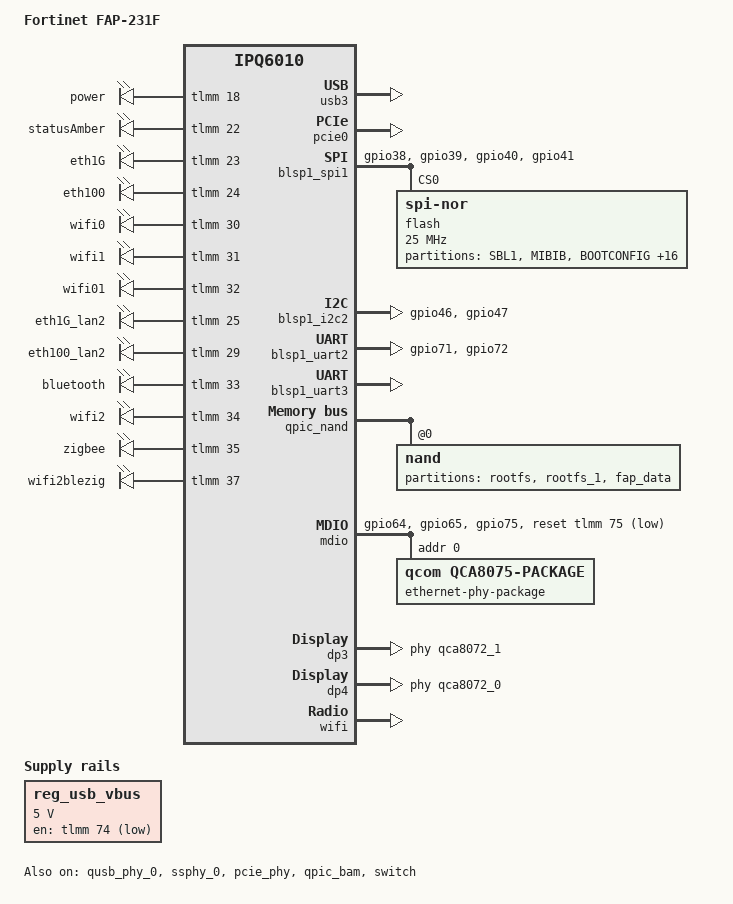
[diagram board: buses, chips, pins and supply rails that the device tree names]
// SPDX-License-Identifier: GPL-2.0-or-later OR MIT

/dts-v1/;

#include "ipq6018-512m.dtsi"
#include "ipq6018-thermal.dtsi"
#include "ipq6018-cp-cpu.dtsi"
#include "ipq6018-ess.dtsi"
#include "ipq6018-nss.dtsi"
#include <dt-bindings/gpio/gpio.h>
#include <dt-bindings/input/input.h>
#include <dt-bindings/leds/common.h>

/ {
	model = "Fortinet FAP-231F";
	compatible = "fortinet,fap-231f", "qcom,ipq6018", "qcom,ipq6010";

	aliases {
		serial0 = &blsp1_uart3;
		serial1 = &blsp1_uart2;
	};

	chosen {
		stdout-path = "serial0:115200n8";
		bootargs-append = " coherent_pool=2M console=ttyMSM0,115200n8 swiotlb=1 mitigations=off root=/dev/ubiblock0_1";
	};

	keys {
		compatible = "gpio-keys";

	};

	leds {
		compatible = "gpio-leds";
		pinctrl-0 = <&led_pins>;
		pinctrl-names = "default";

			power {
				label = "power";
				gpios = <&tlmm 18 GPIO_ACTIVE_HIGH>;
			};

			statusAmber {
				label = "statusAmber";
				gpios = <&tlmm 22 GPIO_ACTIVE_HIGH>;
			};

			eth1G {
				label = "eth1G";
				gpios = <&tlmm 23 GPIO_ACTIVE_HIGH>;
			};

			eth100 {
				label = "eth100";
				gpios = <&tlmm 24 GPIO_ACTIVE_HIGH>;
			};

			wifi0 {
				label = "wifi0";
				gpios = <&tlmm 30 GPIO_ACTIVE_HIGH>;
				linux,default-trigger = "phy0radio";
			};

			wifi1 {
				label = "wifi1";
				gpios = <&tlmm 31 GPIO_ACTIVE_HIGH>;
				linux,default-trigger = "phy1radio";
			};

			wifi01 {
				label = "wifi01";
				gpios = <&tlmm 32 GPIO_ACTIVE_HIGH>;
			};

			eth1G_lan2 {
				label = "eth1G_lan2";
				gpios = <&tlmm 25 GPIO_ACTIVE_HIGH>;
			};

			eth100_lan2 {
				label = "eth100_lan2";
				gpios = <&tlmm 29 GPIO_ACTIVE_HIGH>;
			};

			bluetooth {
				label = "bluetooth";
				gpios = <&tlmm 33 GPIO_ACTIVE_HIGH>;
			};

			wifi2 {
				label = "wifi2";
				gpios = <&tlmm 34 GPIO_ACTIVE_HIGH>;
			};

			zigbee {
				label = "zigbee";
				gpios = <&tlmm 35 GPIO_ACTIVE_HIGH>;
			};

			wifi2ble_zigbee {
				label = "wifi2blezig";
				gpios = <&tlmm 37 GPIO_ACTIVE_HIGH>;
			};

	};

	reg_usb_vbus: regulator-usb-vbus {
		compatible = "regulator-fixed";
		regulator-name = "usb_vbus";
		regulator-min-microvolt = <5000000>;
		regulator-max-microvolt = <5000000>;
		gpio = <&tlmm 74 GPIO_ACTIVE_HIGH>;
		regulator-always-on;
	};

};

&tlmm {

	gpio_pins {
		usb_en {
			pins = "gpio74";
			output-high;
		};
	};

	led_pins: led-state {
		power {
			pins = "gpio18";
			function = "gpio";
			drive-strength = <8>;
			bias-pull-up;
		};

		default_off {
			pins = "gpio22", "gpio23", "gpio24", "gpio30", "gpio31",
			       "gpio32", "gpio25", "gpio29", "gpio33", "gpio34", "gpio35", "gpio37";
			function = "gpio";
			drive-strength = <8>;
			bias-pull-down;
		};
	};

/*	button_pins: button-pins {
		reset_button {
			pins = "gpio9", "gpio51", "gpio53";
			function = "gpio";
			drive-strength = <8>;
			bias-pull-up;
		};
	};*/


	hsuart_pins: hsuart-pins {
		mux {
			pins = "gpio71", "gpio72";
			function = "blsp1_uart";
			drive-strength = <8>;
			bias-disable;
		};
	};

	i2c_pins: i2c-pins {
		mux {
			pins = "gpio46", "gpio47";
			function = "blsp5_i2c";
			drive-strength = <8>;
			bias-pull-down;
		};
	};

	spi_0_pins: spi-0-pins {
		pins = "gpio38", "gpio39", "gpio40", "gpio41";
		function = "blsp0_spi";
		drive-strength = <8>;
		bias-pull-down;
	};


	mdio_pins: mdio-state {
		mdc-pins {
			pins = "gpio64";
			function = "mdc";
			drive-strength = <8>;
			bias-pull-up;
		};

		mdio-pins {
			pins = "gpio65";
			function = "mdio";
			drive-strength = <8>;
			bias-pull-up;
		};

		gpio-pins {
			pins = "gpio75";
			function = "gpio";
			bias-pull-up;
		};
	};
};

&qusb_phy_0 {
	status = "okay";
};

&ssphy_0 {
	status = "okay";
};

&usb3 {
	status = "okay";
};

&pcie_phy {
	status = "okay";
};

&pcie0 {
	status = "okay";
	perst-gpio = <&tlmm 60 GPIO_ACTIVE_LOW>;
};

&blsp1_spi1 {
	pinctrl-0 = <&spi_0_pins>;
	pinctrl-names = "default";
	status = "okay";

	flash@0 {
		#address-cells = <1>;
		#size-cells = <1>;
		reg = <0>;
		compatible = "jedec,spi-nor";
		spi-max-frequency = <25000000>;

		partitions {
			compatible = "fixed-partitions";
			#address-cells = <1>;
			#size-cells = <1>;

			partition@0 {
				label = "SBL1";
				reg = <0x00000000 0x000c0000>;
			};

			partition@c0000 {
				label = "MIBIB";
				reg = <0x000c0000 0x00010000>;
			};

			partition@d0000 {
				label = "BOOTCONFIG";
				reg = <0x000d0000 0x0020000>;
			};

			partition@f0000 {
				label = "BOOTCONFIG1";
				reg = <0x000f0000 0x0020000>;
			};

			partition@110000 {
				label = "QSEE";
				reg = <0x00110000 0x001a0000>;
			};

			partition@2b0000 {
				label = "QSEE_1";
				reg = <0x002b0000 0x001a0000>;
			};


			partition@450000 {
				label = "DEVCFG";
				reg = <0x00450000 0x00010000>;
			};

			partition@460000 {
				label = "DEVCFG_1";
				reg = <0x00460000 0x00010000>;
			};

			partition@470000 {
				label = "RPM";
				reg = <0x00470000 0x00040000>;
			};

			partition@4b0000 {
				label = "RPM_1";
				reg = <0x004b0000 0x00040000>;
			};

			partition@4f0000 {
				label = "CDT";
				reg = <0x004f0000 0x00010000>;
			};

			partition@500000 {
				label = "CDT_1";
				reg = <0x00500000 0x00010000>;
			};

			partition@510000 {
				label = "APPSBLENV";
				reg = <0x00510000 0x00010000>;
			};

			partition@520000 {
				label = "APPSBL";
				reg = <0x00520000 0x000c0000>;
			};

			partition@5e0000 {
				label = "APPSBL_1";
				reg = <0x005e0000 0x000c0000>;
			};

			partition@6a0000 {
				compatible = "nvmem-cells";
				#address-cells = <1>;
				#size-cells = <1>;
				label = "ART";
				reg = <0x006a0000 0x00040000>;

				macaddr_eth0: macaddr@0 {
					reg = <0x0 0x6>;
				};

				macaddr_eth1: macaddr@6 {
					reg = <0x6 0x6>;
				};

				macaddr_eth2: macaddr@c {
					reg = <0xc 0x6>;
				};
			};

			partition@6e0000 {
				label = "reserved";
				reg = <0x006e0000 0x000a0000>;
			};

			partition@780000 {
				label = "nvram";
				reg = <0x00780000 0x00040000>;
			};

			partition@7c0000 {
				label = "oops";
				reg = <0x007c0000 0x00040000>;
			};
		};
	};
};

&blsp1_i2c2 {
	pinctrl-0 = <&i2c_pins>;
	pinctrl-names = "default";
	status = "okay";
};

&blsp1_uart2 {
	pinctrl-0 = <&hsuart_pins>;
	pinctrl-names = "default";
	status = "okay";
};

&blsp1_uart3 {
	pinctrl-0 = <&serial_3_pins>;
	pinctrl-names = "default";
	status = "okay";
};

&qpic_bam {
	status = "okay";
};

&qpic_nand {
	status = "okay";

	nand@0 {
		reg = <0>;
		nand-ecc-strength = <4>;
		nand-ecc-step-size = <512>;
		nand-bus-width = <8>;

		partitions {
			compatible = "fixed-partitions";
			#address-cells = <1>;
			#size-cells = <1>;

			partition@0 {
				label = "rootfs";
				reg = <0x0 0x8000000>;
			};

			partition@8000000 {
				label = "rootfs_1";
				reg = <0x8000000 0x8000000>;
			};

			partition@10000000 {
				label = "fap_data";
				reg = <0x10000000 0x8000000>;
			};
		};
	};
};

&mdio {
	status = "okay";

	pinctrl-0 = <&mdio_pins>;
	pinctrl-names = "default";
	reset-gpios = <&tlmm 75 GPIO_ACTIVE_LOW>;

	ethernet-phy-package@0 {
		#address-cells = <1>;
		#size-cells = <0>;
		compatible = "qcom,qca8075-package";
		reg = <0>;

		qcom,package-mode = "psgmii";

		qca8072_0: ethernet-phy@3 {
			compatible = "ethernet-phy-ieee802.3-c22";
			reg = <3>;
		};

		qca8072_1: ethernet-phy@4 {
			compatible = "ethernet-phy-ieee802.3-c22";
			reg = <4>;
		};
	};
};

&switch {
	status = "okay";

	switch_lan_bmp = <ESS_PORT3>;
	switch_wan_bmp = <ESS_PORT4>;
	switch_mac_mode = <MAC_MODE_PSGMII>;
	port3_pcs_channel = <4>;

	qcom,port_phyinfo {
		port@3 {
			port_id = <3>;
			phy_address = <4>;
		};
		port@4 {
			port_id = <4>;
			phy_address = <3>;
		};
	};
};

&edma {
	status = "okay";
};

&dp3 {
	status = "okay";

	phy-handle = <&qca8072_1>;
	label = "eth0";
};

&dp4 {
	status = "okay";

	phy-handle = <&qca8072_0>;
	label = "eth1";
};

&wifi {
	status = "okay";

	qcom,ath11k-calibration-variant = "Fortinet-FAP-231F";
};
